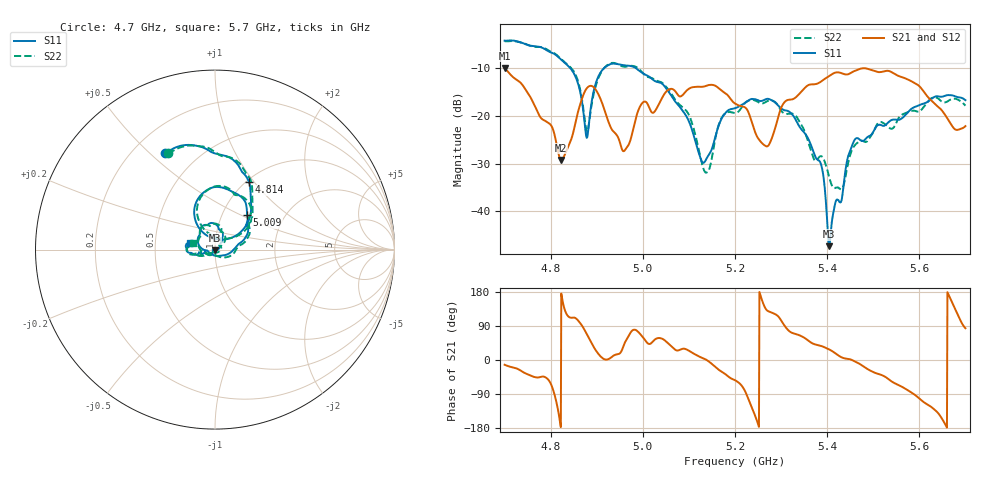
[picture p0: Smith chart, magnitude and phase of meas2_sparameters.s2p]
!Agilent Technologies,N5224A,MY51441177,A.09.90.21
!Agilent N5224A: A.09.90.21
!Date: Wednesday, January 01, 2025 04:57:01
!Correction: S11(Full 2 Port(1,2))
!S21(Full 2 Port(1,2))
!S12(Full 2 Port(1,2))
!S22(Full 2 Port(1,2))
!S2P File: Measurements: S11, S21, S12, S22:
# Hz S  dB  R 50
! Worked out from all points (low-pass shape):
!   1001 points, 4.7 GHz to 5.7 GHz, reference 50 ohm
!   highest |S21| = -10.02 dB at 4.7 GHz (marker M1); lowest = -29.2 dB at 4.823 GHz (marker M2)
!   |S21| within 3 dB of the highest: start of sweep to 4.734 GHz; 5.385 GHz to 5.587 GHz (202.1 MHz wide, 3.68 % of centre)
!   lowest |S11| = -47.3 dB at 5.404 GHz (marker M3), VSWR 1.01, Z = 50 - j0.433 ohm
!   |S11| at or under -10 dB: 4.842 GHz to 4.917 GHz (74.89 MHz wide, 1.53 % of centre); 4.984 GHz to end of sweep
!   |S22| runs from -35.4 to -4.4 dB; largest |S21 - S12| = 0.00096
!   S11 on the Smith chart (normalised r, x): 4.7 GHz: 0.33, +0.56; 4.814 GHz: 1.03, +0.94; 5.009 GHz: 1.31, +0.54; 5.7 GHz: 0.75, +0.06
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4.7e9  -4.33 117.3  -10.02 -12.6  -10.01 -12.6  -4.45 115.9
4.814e9  -7.53 63.1  -26.58 -120.1  -26.54 -120.0  -7.40 61.6
4.823e9  -8.32 59.0  -29.22 175.4  -29.18 175.5  -8.19 57.7
4.867e9  -16.51 33.6  -16.71 92.3  -16.75 92.4  -16.08 31.3
4.879e9  -24.58 86.3  -14.20 66.7  -14.20 66.6  -23.41 75.6
4.907e9  -11.17 113.1  -16.26 11.1  -16.26 11.2  -11.41 111.0
4.959e9  -9.47 73.3  -27.40 40.1  -27.36 40.1  -9.77 70.4
5.009e9  -11.62 46.9  -17.35 46.0  -17.35 45.9  -11.87 43.1
5.034e9  -13.02 37.2  -17.75 58.0  -17.77 57.9  -12.80 33.6
5.099e9  -20.96 -9.7  -14.44 25.2  -14.47 25.4  -19.67 -13.6
5.137e9  -29.20 -142.9  -13.77 1.1  -13.75 1.1  -31.88 -118.8
5.17e9  -20.79 165.8  -14.70 -30.1  -14.69 -30.0  -20.63 169.3
5.2e9  -18.45 136.1  -17.46 -53.3  -17.44 -53.3  -19.45 133.4
5.269e9  -16.50 100.6  -26.42 131.4  -26.43 131.7  -17.02 98.4
5.306e9  -18.82 79.0  -17.35 93.2  -17.30 93.2  -19.49 72.5
5.367e9  -26.70 46.7  -13.45 44.5  -13.44 44.5  -27.96 34.8
5.389e9  -31.02 26.8  -12.72 36.2  -12.71 36.1  -28.55 24.5
5.404e9  -47.25 -92.3  -11.76 28.1  -11.76 28.1  -32.70 -35.6
5.432e9  -37.35 -145.9  -11.17 6.7  -11.15 6.7  -35.29 -125.4
5.458e9  -25.34 -153.7  -10.72 -2.5  -10.72 -2.5  -26.44 -140.8
5.534e9  -21.29 -167.0  -10.67 -51.4  -10.68 -51.4  -22.48 -169.6
5.7e9  -16.76 164.7  -22.18 83.8  -22.15 83.7  -17.92 163.3
